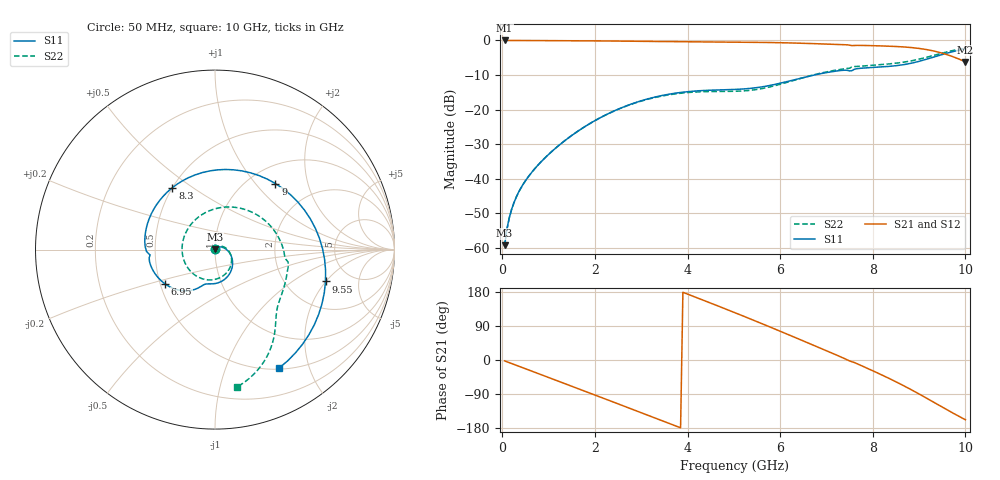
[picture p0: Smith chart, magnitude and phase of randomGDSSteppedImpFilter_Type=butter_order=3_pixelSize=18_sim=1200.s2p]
! freq	dB(S11)	phase(S11)	dB(S12)	phase(S12)
!  dB(S21)	phase(S21)	dB(S22)	phase(S22)
!S-par simulation data
#  GHz  S  DB  R 50
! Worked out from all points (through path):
!   200 points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, 50 MHz to 10 GHz, reference 50 ohm
!   highest |S21| = 0.00 dB at 50 MHz (marker M1); lowest = -6.2 dB at 10 GHz (marker M2)
!   group delay of S21, straight-line fit = 140 ps
!   lowest |S11| = -59.3 dB at 50 MHz (marker M3), VSWR 1.00, Z = 50.1 + j0.0959 ohm
!   |S11| at or under -10 dB: start of sweep to 6.738 GHz
!   |S22| runs from -59.5 to -2.2 dB; largest |S21 - S12| = 0
!   S11 on the Smith chart (normalised r, x): 50 MHz: 1.00, +0.00; 6.95 GHz: 0.53, -0.23; 8.3 GHz: 0.50, +0.42; 9 GHz: 1.31, +1.28; 9.55 GHz: 3.29, -1.98; 10 GHz: 0.51, -1.55
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0.05  -59.27 61.8  -0.00 -2.3  -0.00 -2.3  -59.55 60.2
0.1  -54.60 69.6  -0.01 -4.7  -0.01 -4.7  -54.72 70.6
0.2  -48.95 72.1  -0.02 -9.3  -0.02 -9.3  -49.00 74.9
0.5  -40.61 62.6  -0.03 -23.1  -0.03 -23.1  -40.62 69.1
1.15  -31.19 33.8  -0.06 -53.1  -0.06 -53.1  -31.17 42.9
1.75  -25.22 7.5  -0.10 -80.8  -0.10 -80.8  -25.21 13.8
2.5  -19.90 -23.9  -0.18 -115.7  -0.18 -115.7  -19.94 -25.2
3.4  -16.07 -58.9  -0.31 -157.8  -0.31 -157.8  -16.22 -74.7
4.2  -14.60 -85.0  -0.41 164.5  -0.41 164.5  -14.90 -123.8
5.05  -14.16 -103.0  -0.49 123.5  -0.49 123.5  -14.70 171.4
5.85  -12.83 -112.6  -0.61 83.6  -0.61 83.6  -13.22 98.7
6.25  -11.56 -120.7  -0.73 63.2  -0.73 63.2  -11.72 65.5
6.7  -10.11 -135.1  -0.91 40.0  -0.91 40.0  -10.03 33.7
6.95  -9.43 -145.6  -1.02 27.0  -1.02 27.0  -9.24 18.6
7.7  -8.11 173.9  -1.43 -11.9  -1.43 -11.9  -7.49 -17.6
8.3  -7.56 124.5  -1.64 -45.5  -1.64 -45.5  -6.86 -37.0
8.35  -7.50 119.6  -1.66 -48.5  -1.66 -48.5  -6.79 -38.2
8.7  -6.93 82.5  -1.91 -69.9  -1.91 -69.9  -6.22 -45.4
9  -6.04 47.5  -2.31 -89.6  -2.31 -89.6  -5.41 -51.0
9.3  -4.86 12.1  -3.01 -110.3  -3.01 -110.3  -4.37 -57.8
9.55  -3.87 -16.1  -3.89 -127.6  -3.89 -127.6  -3.48 -65.0
10  -2.49 -61.6  -6.19 -157.6  -6.19 -157.6  -2.21 -80.9
